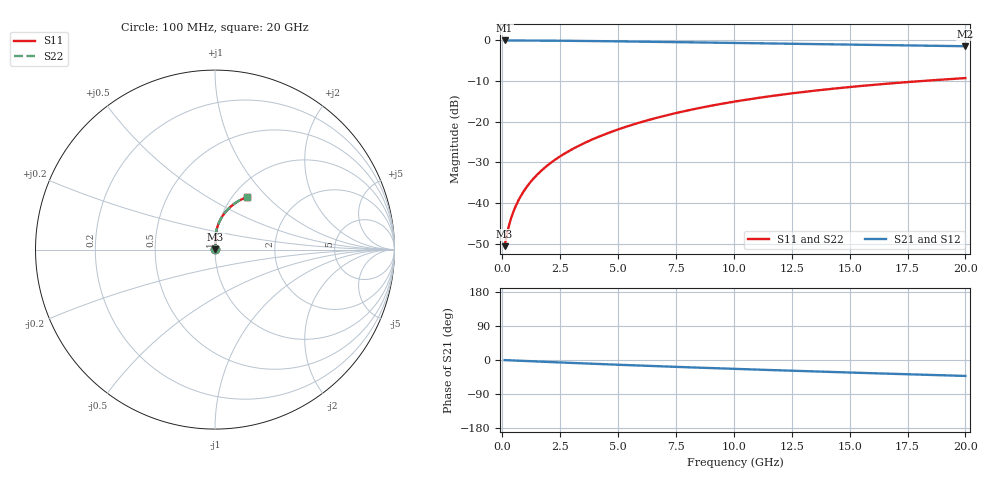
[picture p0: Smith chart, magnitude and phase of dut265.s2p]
! Touchstone file exported from HFSS 2024.1.0
!  File:  C:/UserFiles/LocalFiles/RDL_TSV_Batchsim/temp_RDL_top_265_1778689441.aedt
!  Generated:  12:26:08 AM May 14, 2026
!  Design:  RDL_top
!  Project:  temp_RDL_top_265_1778689441
!  Setup:  Setup1
!  Solution:  Sweep
! Variables:
!  dtsv = 10.80580581um
!  hbump = 3um
!  htsv = 75.25um
!  ldown = 100um
!  lrdl = 604.49um
!  p = 40
!  p1 = 54.42um
!  rhole = 1um
!  t = 450um
!  tdown = 3.915915916um
!  trdl = 3.63um
!  wdown = 15.38538539um
!  wrdl = 26.83um
# GHz S MA R 50.000000
! Terminal data exported
! Port[1] = Box2_T1
! Port[2] = Box2_T2
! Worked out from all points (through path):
!   200 points, 100 MHz to 20 GHz, reference 50 ohm
!   highest |S21| = -0.02 dB at 100 MHz (marker M1); lowest = -1.4 dB at 20 GHz (marker M2)
!   group delay of S21, straight-line fit = 5.77 ps
!   lowest |S11| = -50.6 dB at 100 MHz (marker M3), VSWR 1.01, Z = 50.2 + j0.169 ohm
!   |S11| at or under -10 dB: start of sweep to 18.09 GHz
!   |S22| runs from -50.6 to -9.3 dB; largest |S21 - S12| = 4e-15
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0.1  0.00296 34.7  0.9976 -0.3  0.9976 -0.3  0.00296 34.7
! Gamma 0 0 0 0
! Port Impedance 50 0 50 0
0.2  0.004168 51.5  0.9974 -0.5  0.9974 -0.5  0.004168 51.5
0.3  0.005475 60.0  0.9971 -0.8  0.9971 -0.8  0.005475 60.0
0.4  0.006794 65.3  0.9969 -1.1  0.9969 -1.1  0.006794 65.3
0.5  0.008126 69.1  0.9967 -1.3  0.9967 -1.3  0.008126 69.1
0.6  0.009475 72.0  0.9965 -1.6  0.9965 -1.6  0.009475 72.0
0.8  0.01223 76.1  0.9961 -2.1  0.9961 -2.1  0.01223 76.1
1.1  0.01647 80.0  0.9954 -2.9  0.9954 -2.9  0.01647 80.0
1.3  0.01936 81.7  0.9948 -3.4  0.9948 -3.4  0.01936 81.7
1.6  0.02377 83.6  0.9938 -4.2  0.9938 -4.2  0.02378 83.6
2.1  0.03134 85.5  0.9918 -5.5  0.9918 -5.5  0.03135 85.5
2.7  0.04078 86.9  0.9887 -7.0  0.9887 -7.0  0.04078 86.9
3.5  0.05397 87.7  0.9838 -9.0  0.9838 -9.0  0.05398 87.7
4.2  0.06606 87.8  0.9789 -10.7  0.9789 -10.7  0.06607 87.8
5  0.08044 87.4  0.9727 -12.5  0.9727 -12.5  0.08046 87.4
6.8  0.1144 85.1  0.9577 -16.6  0.9577 -16.6  0.1144 85.2
8.4  0.1454 82.3  0.9439 -20.0  0.9439 -20.0  0.1454 82.3
10.1  0.1782 78.8  0.9293 -23.5  0.9293 -23.5  0.1783 78.8
11.7  0.2084 75.4  0.9157 -26.7  0.9157 -26.7  0.2085 75.4
13.4  0.2393 71.8  0.9013 -30.0  0.9013 -30.0  0.2394 71.8
16.7  0.2948 64.9  0.874 -36.2  0.874 -36.2  0.2949 64.9
20  0.3439 58.5  0.8472 -42.1  0.8472 -42.1  0.344 58.5
